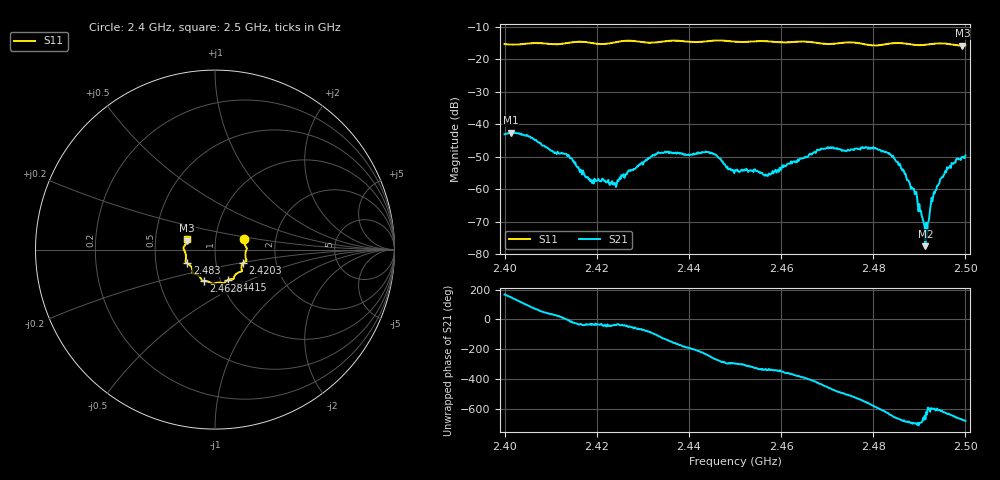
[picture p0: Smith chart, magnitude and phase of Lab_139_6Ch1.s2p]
# Hz S RI R 50
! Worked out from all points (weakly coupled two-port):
!   601 points, 2.4 GHz to 2.5 GHz, reference 50 ohm
!   highest |S21| = -42.55 dB at 2.4013 GHz (marker M1); lowest = -77.5 dB at 2.4913 GHz (marker M2)
!   lowest |S11| = -15.8 dB at 2.4993 GHz (marker M3), VSWR 1.39, Z = 36.4 + j3.68 ohm
!   |S11| at or under -10 dB: start of sweep to end of sweep
!   S12 and S22 are empty: the file has one direction only
!   S11 on the Smith chart (normalised r, x): 2.4 GHz: 1.38, +0.16; 2.4203 GHz: 1.35, -0.21; 2.4415 GHz: 1.09, -0.38; 2.4628 GHz: 0.83, -0.30; 2.483 GHz: 0.73, -0.11; 2.5 GHz: 0.73, +0.09
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2.4e9  0.162 0.0568  -0.00682 0.00166  0 0  0 0
2.401333e9  0.1632 0.0426  -0.00635 0.00391  0 0  0 0
2.4135e9  0.1713 -0.0468  0.0034 -6.27e-05  0 0  0 0
2.416667e9  0.1755 -0.0621  0.00155 -0.00106  0 0  0 0
2.420333e9  0.1557 -0.0746  0.0012 -0.000795  0 0  0 0
2.424e9  0.1477 -0.1077  0.000979 -0.00076  0 0  0 0
2.433333e9  0.1083 -0.148  -0.00126 -0.00348  0 0  0 0
2.4415e9  0.0731 -0.1687  -0.00317 0.00155  0 0  0 0
2.445333e9  0.0509 -0.187  -0.000607 0.0034  0 0  0 0
2.45e9  0.0296 -0.1844  0.000845 0.00177  0 0  0 0
2.456667e9  -0.016 -0.1895  0.00148 0.000821  0 0  0 0
2.462833e9  -0.0625 -0.1743  0.00262 -0.000578  0 0  0 0
2.466667e9  -0.0751 -0.1675  0.00229 -0.00251  0 0  0 0
2.483e9  -0.1543 -0.0764  -0.000325 0.00366  0 0  0 0
2.483333e9  -0.1563 -0.0753  4.99e-05 0.00351  0 0  0 0
2.489e9  -0.1618 -0.0414  0.000772 0.00034  0 0  0 0
2.491333e9  -0.1666 -0.0138  8.36e-05 0.000103  0 0  0 0
2.491833e9  -0.1687 -0.00884  -0.00019 0.000236  0 0  0 0
2.493e9  -0.1731 0.000829  -0.000409 0.00064  0 0  0 0
2.494333e9  -0.1755 0.00862  -0.000514 0.00112  0 0  0 0
2.499333e9  -0.1553 0.0492  0.00207 0.00235  0 0  0 0
2.5e9  -0.1532 0.0579  0.00252 0.00214  0 0  0 0
